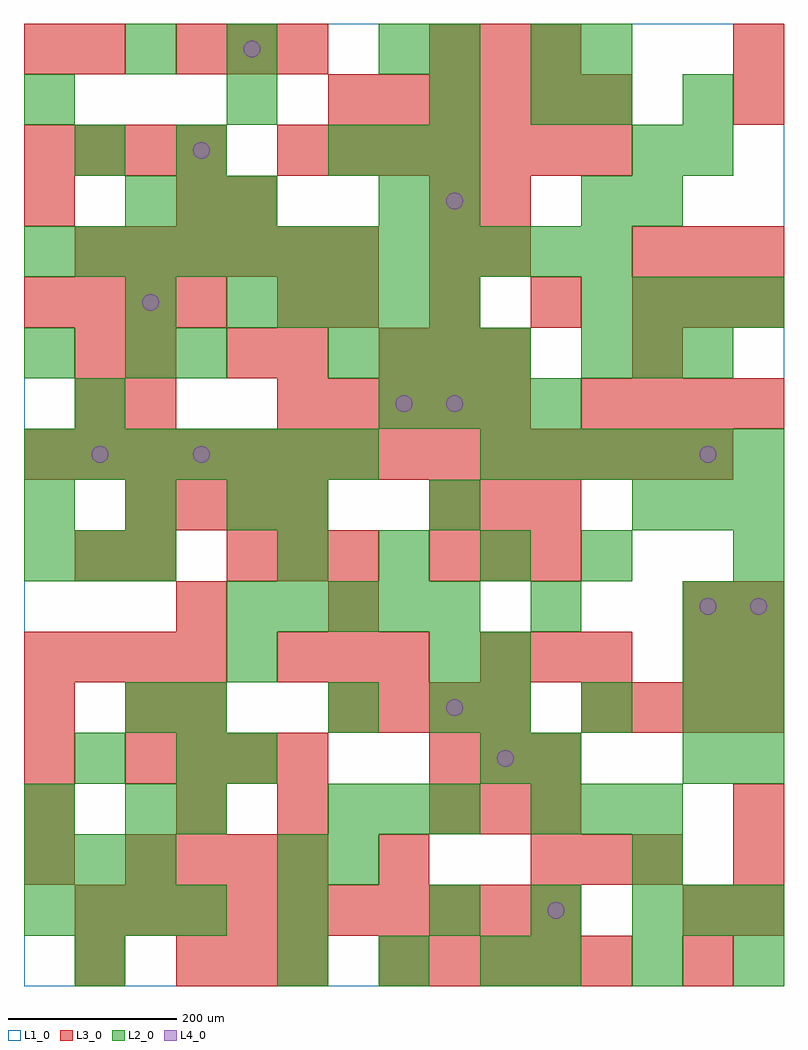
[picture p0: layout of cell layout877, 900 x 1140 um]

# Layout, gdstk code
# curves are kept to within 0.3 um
import gdstk
lib = gdstk.Library(unit=1e-6, precision=1e-09)
def R(c, l, rs):  # rectangles x0, y0, x1, y1
    for r in rs: c.add(gdstk.rectangle(r[:2], r[2:], *l))
def A(c, l, x, y, w, h, nx, ny, dx, dy):  # array of equal rectangles
    R(c, l, [(x+i*dx, y+j*dy, x+i*dx+w, y+j*dy+h) for i in range(nx) for j in range(ny)])
def P(c, l, *ps):  # polygons
    for p in ps: c.add(gdstk.Polygon(p, *l))
L1_0 = (1, 0)
L2_0 = (2, 0)
L3_0 = (3, 0)
L4_0 = (4, 0)

layout877 = lib.new_cell('layout877')
R(layout877, L1_0, [(0,0,900,1140)])
A(layout877, L2_0, 300, 0, 60, 60, 3, 1, 120, 0)
A(layout877, L2_0, 600, 0, 60, 60, 3, 1, 120, 0)
A(layout877, L2_0, 0, 60, 60, 60, 4, 1, 60, 0)
A(layout877, L2_0, 480, 60, 60, 60, 3, 1, 120, 0)
A(layout877, L2_0, 0, 120, 60, 60, 3, 2, 60, 360)
A(layout877, L2_0, 180, 180, 60, 60, 1, 3, 0, 60)
A(layout877, L2_0, 360, 180, 60, 60, 3, 2, 60, 780)
A(layout877, L2_0, 600, 180, 60, 60, 3, 1, 60, 0)
A(layout877, L2_0, 840, 240, 60, 60, 1, 5, 0, 60)
A(layout877, L2_0, 540, 300, 60, 60, 3, 1, 120, 0)
A(layout877, L2_0, 240, 420, 60, 60, 5, 2, 60, 360)
A(layout877, L2_0, 300, 480, 60, 60, 4, 1, 120, 0)
A(layout877, L2_0, 0, 540, 60, 60, 3, 1, 120, 0)
A(layout877, L2_0, 720, 540, 60, 60, 3, 1, 60, 0)
A(layout877, L2_0, 0, 600, 60, 60, 7, 1, 60, 0)
A(layout877, L2_0, 540, 600, 60, 60, 6, 1, 60, 0)
A(layout877, L2_0, 420, 660, 60, 60, 4, 1, 60, 0)
A(layout877, L2_0, 360, 720, 60, 60, 4, 1, 60, 0)
A(layout877, L2_0, 660, 720, 60, 60, 3, 1, 60, 0)
A(layout877, L2_0, 660, 780, 60, 60, 4, 1, 60, 0)
A(layout877, L2_0, 0, 840, 60, 60, 12, 1, 60, 0)
A(layout877, L2_0, 120, 900, 60, 60, 3, 1, 60, 0)
A(layout877, L2_0, 0, 1020, 60, 60, 3, 1, 240, 0)
R(layout877, L2_0, [(60,0,120,60), (300,60,360,120), (780,60,840,120), (840,60,900,120), (300,120,360,180), (360,120,420,180), (720,120,780,180), (0,180,60,240), (120,180,180,240), (60,240,120,300), (240,240,300,300), (540,240,600,300), (600,240,660,300), (780,240,840,300), (120,300,180,360), (360,300,420,360), (480,300,540,360), (240,360,300,420), (480,360,540,420), (540,360,600,420), (780,360,840,420), (600,420,660,480), (780,420,840,480), (300,540,360,600), (480,540,540,600), (60,660,120,720), (0,720,60,780), (120,720,180,780), (180,720,240,780), (120,780,180,840), (420,900,480,960), (480,900,540,960), (660,900,720,960), (720,900,780,960), (60,960,120,1020), (180,960,240,1020), (720,960,780,1020), (780,960,840,1020), (600,1020,660,1080), (660,1020,720,1080), (780,1020,840,1080), (120,1080,180,1140), (240,1080,300,1140), (420,1080,480,1140), (480,1080,540,1140), (600,1080,660,1140), (660,1080,720,1140)])
A(layout877, L3_0, 180, 0, 60, 60, 3, 2, 60, 1080)
A(layout877, L3_0, 420, 0, 60, 60, 5, 1, 60, 0)
A(layout877, L3_0, 60, 60, 60, 60, 10, 1, 60, 0)
A(layout877, L3_0, 840, 60, 60, 60, 1, 3, 0, 60)
A(layout877, L3_0, 0, 120, 60, 60, 1, 4, 0, 60)
A(layout877, L3_0, 120, 120, 60, 60, 4, 2, 60, 120)
A(layout877, L3_0, 600, 120, 60, 60, 3, 1, 60, 0)
A(layout877, L3_0, 180, 180, 60, 60, 1, 3, 0, 120)
A(layout877, L3_0, 480, 180, 60, 60, 3, 2, 60, 60)
A(layout877, L3_0, 120, 300, 60, 60, 1, 3, 0, 180)
A(layout877, L3_0, 360, 300, 60, 60, 4, 1, 60, 0)
A(layout877, L3_0, 660, 300, 60, 60, 4, 2, 60, 360)
A(layout877, L3_0, 0, 360, 60, 60, 4, 2, 60, 420)
A(layout877, L3_0, 300, 360, 60, 60, 3, 1, 60, 0)
A(layout877, L3_0, 540, 360, 60, 60, 3, 1, 60, 0)
A(layout877, L3_0, 240, 480, 60, 60, 3, 1, 60, 0)
A(layout877, L3_0, 480, 480, 60, 60, 3, 2, 60, 60)
A(layout877, L3_0, 120, 540, 60, 60, 4, 1, 60, 0)
A(layout877, L3_0, 0, 600, 60, 60, 14, 1, 60, 0)
A(layout877, L3_0, 300, 660, 60, 60, 5, 1, 60, 0)
A(layout877, L3_0, 420, 720, 60, 60, 3, 1, 60, 0)
A(layout877, L3_0, 360, 780, 60, 60, 4, 1, 120, 0)
A(layout877, L3_0, 60, 840, 60, 60, 6, 1, 60, 0)
A(layout877, L3_0, 720, 840, 60, 60, 3, 1, 60, 0)
A(layout877, L3_0, 0, 960, 60, 60, 4, 1, 60, 0)
A(layout877, L3_0, 300, 960, 60, 60, 7, 1, 60, 0)
A(layout877, L3_0, 360, 1020, 60, 60, 6, 1, 60, 0)
A(layout877, L3_0, 480, 1080, 60, 60, 3, 1, 60, 0)
R(layout877, L3_0, [(60,0,120,60), (780,0,840,60), (780,60,840,120), (420,120,480,180), (300,180,360,240), (780,360,840,420), (840,360,900,420), (360,420,420,480), (780,420,840,480), (840,420,900,480), (60,480,120,540), (60,660,120,720), (60,720,120,780), (120,720,180,780), (240,720,300,780), (300,720,360,780), (720,720,780,780), (300,780,360,840), (780,780,840,840), (840,780,900,840), (480,840,540,900), (540,840,600,900), (0,900,60,960), (180,900,240,960), (240,900,300,960), (480,900,540,960), (540,900,600,960), (840,1020,900,1080), (0,1080,60,1140), (60,1080,120,1140), (840,1080,900,1140)])
P(layout877, L4_0, [(100,630),(99.239,633.827),(97.071,637.071),(93.827,639.239),(90,640),(86.173,639.239),(82.929,637.071),(80.761,633.827),(80,630),(80.761,626.173),(82.929,622.929),(86.173,620.761),(90,620),(93.827,620.761),(97.071,622.929),(99.239,626.173)],
  [(160,810),(159.239,813.827),(157.071,817.071),(153.827,819.239),(150,820),(146.173,819.239),(142.929,817.071),(140.761,813.827),(140,810),(140.761,806.173),(142.929,802.929),(146.173,800.761),(150,800),(153.827,800.761),(157.071,802.929),(159.239,806.173)],
  [(220,630),(219.239,633.827),(217.071,637.071),(213.827,639.239),(210,640),(206.173,639.239),(202.929,637.071),(200.761,633.827),(200,630),(200.761,626.173),(202.929,622.929),(206.173,620.761),(210,620),(213.827,620.761),(217.071,622.929),(219.239,626.173)],
  [(220,990),(219.239,993.827),(217.071,997.071),(213.827,999.239),(210,1000),(206.173,999.239),(202.929,997.071),(200.761,993.827),(200,990),(200.761,986.173),(202.929,982.929),(206.173,980.761),(210,980),(213.827,980.761),(217.071,982.929),(219.239,986.173)],
  [(280,1110),(279.239,1113.827),(277.071,1117.071),(273.827,1119.239),(270,1120),(266.173,1119.239),(262.929,1117.071),(260.761,1113.827),(260,1110),(260.761,1106.173),(262.929,1102.929),(266.173,1100.761),(270,1100),(273.827,1100.761),(277.071,1102.929),(279.239,1106.173)],
  [(460,690),(459.239,693.827),(457.071,697.071),(453.827,699.239),(450,700),(446.173,699.239),(442.929,697.071),(440.761,693.827),(440,690),(440.761,686.173),(442.929,682.929),(446.173,680.761),(450,680),(453.827,680.761),(457.071,682.929),(459.239,686.173)],
  [(520,330),(519.239,333.827),(517.071,337.071),(513.827,339.239),(510,340),(506.173,339.239),(502.929,337.071),(500.761,333.827),(500,330),(500.761,326.173),(502.929,322.929),(506.173,320.761),(510,320),(513.827,320.761),(517.071,322.929),(519.239,326.173)],
  [(520,690),(519.239,693.827),(517.071,697.071),(513.827,699.239),(510,700),(506.173,699.239),(502.929,697.071),(500.761,693.827),(500,690),(500.761,686.173),(502.929,682.929),(506.173,680.761),(510,680),(513.827,680.761),(517.071,682.929),(519.239,686.173)],
  [(520,930),(519.239,933.827),(517.071,937.071),(513.827,939.239),(510,940),(506.173,939.239),(502.929,937.071),(500.761,933.827),(500,930),(500.761,926.173),(502.929,922.929),(506.173,920.761),(510,920),(513.827,920.761),(517.071,922.929),(519.239,926.173)],
  [(580,270),(579.239,273.827),(577.071,277.071),(573.827,279.239),(570,280),(566.173,279.239),(562.929,277.071),(560.761,273.827),(560,270),(560.761,266.173),(562.929,262.929),(566.173,260.761),(570,260),(573.827,260.761),(577.071,262.929),(579.239,266.173)],
  [(640,90),(639.239,93.827),(637.071,97.071),(633.827,99.239),(630,100),(626.173,99.239),(622.929,97.071),(620.761,93.827),(620,90),(620.761,86.173),(622.929,82.929),(626.173,80.761),(630,80),(633.827,80.761),(637.071,82.929),(639.239,86.173)],
  [(820,450),(819.239,453.827),(817.071,457.071),(813.827,459.239),(810,460),(806.173,459.239),(802.929,457.071),(800.761,453.827),(800,450),(800.761,446.173),(802.929,442.929),(806.173,440.761),(810,440),(813.827,440.761),(817.071,442.929),(819.239,446.173)],
  [(820,630),(819.239,633.827),(817.071,637.071),(813.827,639.239),(810,640),(806.173,639.239),(802.929,637.071),(800.761,633.827),(800,630),(800.761,626.173),(802.929,622.929),(806.173,620.761),(810,620),(813.827,620.761),(817.071,622.929),(819.239,626.173)],
  [(880,450),(879.239,453.827),(877.071,457.071),(873.827,459.239),(870,460),(866.173,459.239),(862.929,457.071),(860.761,453.827),(860,450),(860.761,446.173),(862.929,442.929),(866.173,440.761),(870,440),(873.827,440.761),(877.071,442.929),(879.239,446.173)])

lib.write_gds('layout877.gds')
